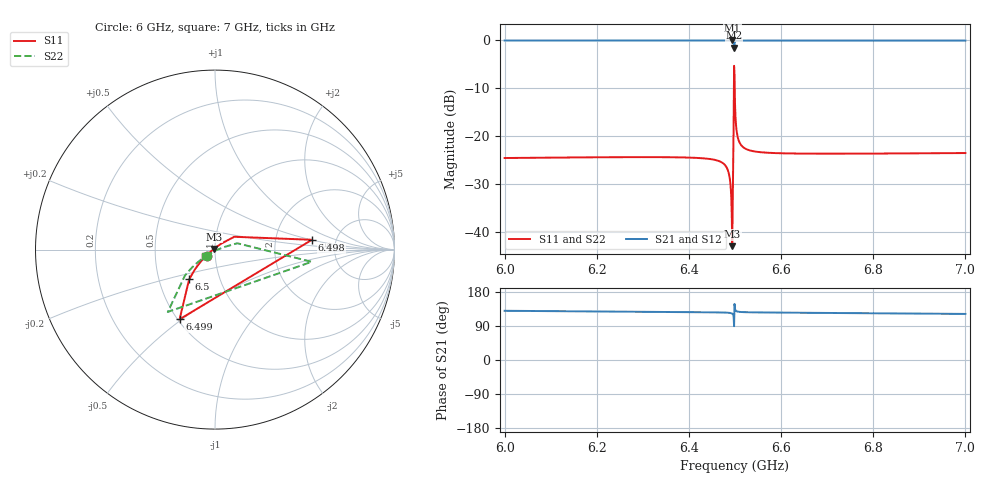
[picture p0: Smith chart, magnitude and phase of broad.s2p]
! Touchstone file exported from HFSS 2021.2.0
!  File:  D:/Jay PhD/Code/Christian Andersen lab metal/andersen-lab-qiskit-metal-7ffcf333120ae557fdd8582a17358975285c58c2/SQL HFSS/Design7_Tunable_Transmon/simulation/aedt/D7.aedt
!  Generated:  8:58:26 %x4E0B%x5348  %x5341%x4E00%x6708 22, 2026
!  Design:  R_b6d1
!  Project:  D7
!  Setup:  Setup1
!  Solution:  SweepBroad
# GHz S MA R 50.000000
! Terminal data exported
! Port[1] = LumpPort_feedline_end
! Port[2] = LumpPort_feedline_start
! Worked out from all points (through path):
!   1001 points, 6 GHz to 7 GHz, reference 50 ohm
!   highest |S21| = 0.00 dB at 6.494 GHz (marker M1); lowest = -1.5 dB at 6.498 GHz (marker M2)
!   lowest |S11| = -43.0 dB at 6.494 GHz (marker M3), VSWR 1.01, Z = 49.4 + j0.388 ohm
!   |S11| at or under -10 dB: start of sweep to 6.498 GHz; 6.499 GHz to end of sweep
!   |S22| runs from -43.0 to -5.3 dB; largest |S21 - S12| = 9.3e-13
!   S11 on the Smith chart (normalised r, x): 6 GHz: 0.91, -0.07; 6.498 GHz: 3.29, +0.51; 6.499 GHz: 0.51, -0.49; 6.5 GHz: 0.71, -0.25; 7 GHz: 0.89, -0.06
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6  0.05895 -140.4  0.9983 129.9  0.9983 129.9  0.05895 -139.9
! Gamma 0 0 0 0
! Port Impedance 50 0 50 0
6.167  0.05986 -141.8  0.9982 128.5  0.9982 128.5  0.05986 -141.3
6.334  0.06019 -143.4  0.9982 127.0  0.9982 127.0  0.06019 -142.6
6.468  0.05406 -145.7  0.9985 125.5  0.9985 125.5  0.05406 -143.3
6.484  0.04461 -147.9  0.999 124.8  0.999 124.8  0.04461 -142.5
6.487  0.03985 -149.3  0.9992 124.5  0.9992 124.5  0.03985 -141.7
6.49  0.03171 -152.3  0.9995 124.0  0.9995 124.0  0.03171 -139.7
6.492  0.02216 -158.3  0.9998 123.4  0.9998 123.4  0.02216 -134.9
6.493  0.015 -167.7  0.9999 123.0  0.9999 123.0  0.015 -126.3
6.494  0.007054 146.1  1 122.3  1 122.3  0.007054 -81.5
6.498  0.5429 5.8  0.8398 89.3  0.8398 89.3  0.5429 -7.2
6.499  0.4355 -116.9  0.9002 148.0  0.9002 148.0  0.4355 -127.1
6.5  0.2196 -131.0  0.9756 134.8  0.9756 134.8  0.2196 -139.4
6.502  0.1344 -137.1  0.9909 129.8  0.9909 129.8  0.1344 -143.2
6.503  0.1191 -138.4  0.9929 128.9  0.9929 128.9  0.1191 -143.7
6.504  0.1092 -139.3  0.994 128.4  0.994 128.4  0.1092 -144.0
6.506  0.09708 -140.4  0.9953 127.6  0.9953 127.6  0.09708 -144.3
6.509  0.08748 -141.4  0.9962 127.1  0.9962 127.1  0.08748 -144.4
6.528  0.07186 -143.5  0.9974 126.0  0.9974 126.0  0.07186 -144.5
6.667  0.06548 -145.7  0.9979 124.4  0.9979 124.4  0.06548 -145.5
6.834  0.06572 -147.2  0.9978 123.0  0.9978 123.0  0.06572 -146.8
7  0.06644 -148.6  0.9978 121.6  0.9978 121.6  0.06644 -148.2
